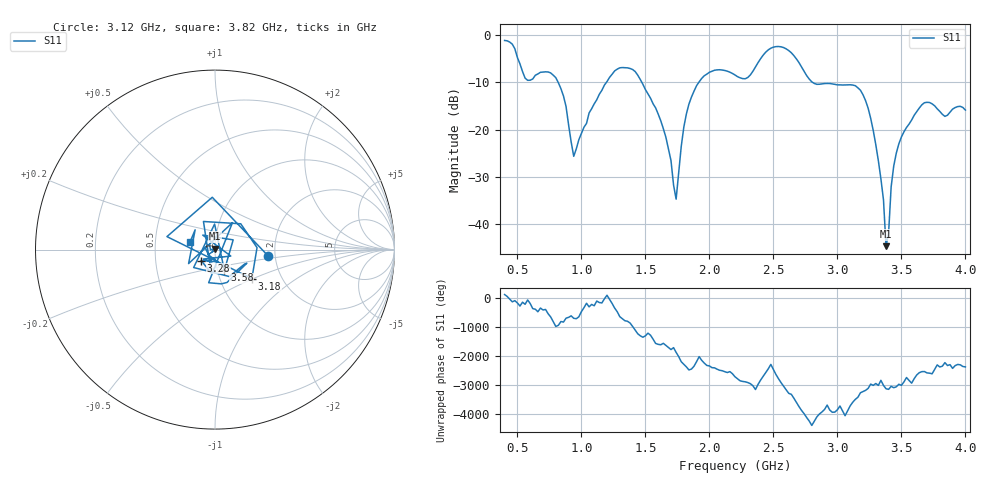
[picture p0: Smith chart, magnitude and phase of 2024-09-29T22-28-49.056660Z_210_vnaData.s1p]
!Created with skrf (http://scikit-rf.org).
# Hz S RI R 50.0
!freq ReS11 ImS11
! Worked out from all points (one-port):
!   181 points, 400 MHz to 4 GHz, reference 50 ohm
!   lowest |S11| = -44.6 dB at 3.38 GHz (marker M1), VSWR 1.01, Z = 49.9 + j0.578 ohm
!   |S11| at or under -10 dB: 818.6 MHz to 1.195 GHz (376.6 MHz wide, 37.4 % of centre); 1.472 GHz to 1.917 GHz (444.5 MHz wide, 26.2 % of centre); 2.807 GHz to end of sweep
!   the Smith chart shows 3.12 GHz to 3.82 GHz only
!   S11 on the Smith chart (normalised r, x): 3.12 GHz: 1.83, -0.14; 3.18 GHz: 1.42, -0.49; 3.28 GHz: 0.85, -0.10; 3.58 GHz: 1.08, -0.25; 3.82 GHz: 0.75, +0.06
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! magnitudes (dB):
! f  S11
! 400 MHz  -1.1
! 560 MHz  -9.1
! 760 MHz  -8.0
! 860 MHz  -12.9
! 940 MHz  -25.6
! 1.3 GHz  -6.9
! 1.58 GHz  -15.4
! 1.66 GHz  -21.6
! 1.74 GHz  -34.7
! 1.76 GHz  -29.2
! 1.82 GHz  -16.7
! 1.9 GHz  -10.7
! 2.2 GHz  -8.4
! 2.5 GHz  -2.6
! 2.66 GHz  -4.3
! 2.82 GHz  -10.2
! 3.1 GHz  -10.5
! 3.12 GHz  -10.6
! 3.18 GHz  -11.7
! 3.28 GHz  -20.1
! 3.36 GHz  -34.8
! 3.38 GHz  -44.6
! 3.44 GHz  -27.7
! 3.56 GHz  -18.8
! 3.58 GHz  -17.9
! 3.68 GHz  -14.3
! 3.82 GHz  -16.7
! 4 GHz  -15.8
